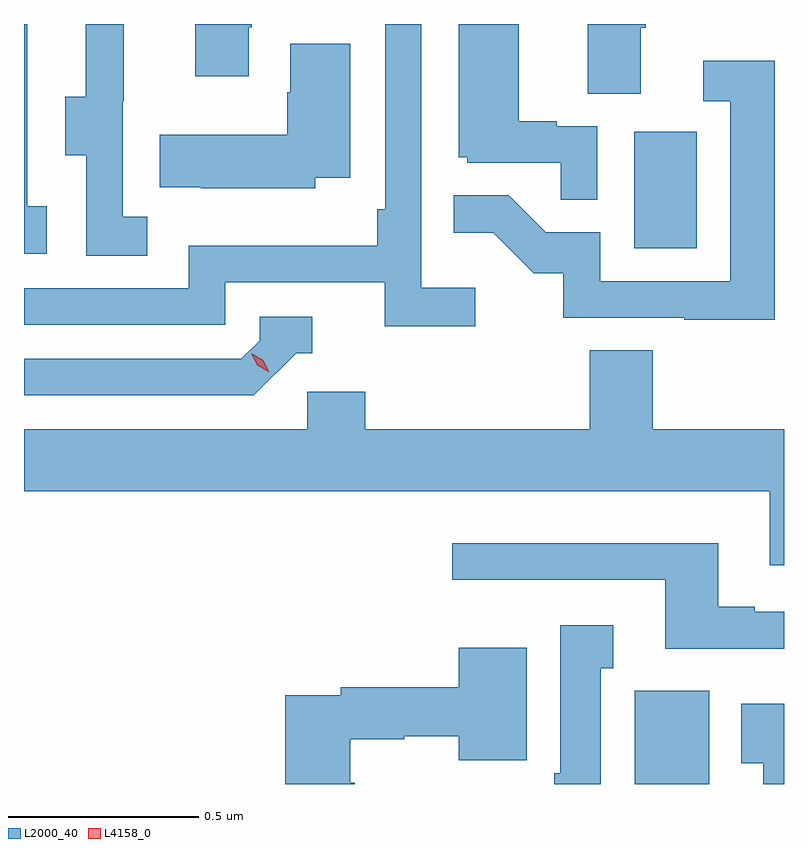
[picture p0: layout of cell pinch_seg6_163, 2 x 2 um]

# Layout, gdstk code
import gdstk
lib = gdstk.Library(unit=1e-6, precision=1e-09)
def R(c, l, rs):  # rectangles x0, y0, x1, y1
    for r in rs: c.add(gdstk.rectangle(r[:2], r[2:], *l))
def P(c, l, *ps):  # polygons
    for p in ps: c.add(gdstk.Polygon(p, *l))
L2000_40 = (2000, 40)
L4158_0 = (4158, 0)

pinch_seg6_163 = lib.new_cell('pinch_seg6_163')
R(pinch_seg6_163, L2000_40, [(1018.287,937.242,1018.483,937.488), (1018.286,938.652,1018.45,938.959)])
P(pinch_seg6_163, L2000_40, [(1018.303,939.232),(1018.316,939.232),(1018.316,939.242),(1018.163,939.242),(1018.163,939.058),(1018.303,939.058)],
  [(1016.74,938.762),(1016.688,938.762),(1016.688,939.242),(1016.68,939.242),(1016.68,938.637),(1016.74,938.637)],
  [(1017.004,938.735),(1016.94,938.735),(1016.94,939.039),(1016.942,939.039),(1016.942,939.242),(1016.843,939.242),(1016.843,939.051),(1016.789,939.051),(1016.789,938.896),(1016.844,938.896),(1016.844,938.632),(1017.004,938.632)],
  [(1017.868,938.548),(1017.726,938.548),(1017.726,939.242),(1017.63,939.242),(1017.63,938.755),(1017.61,938.755),(1017.61,938.659),(1017.114,938.659),(1017.114,938.547),(1016.68,938.547),(1016.68,938.451),(1017.21,938.451),(1017.21,938.562),(1017.629,938.562),(1017.629,938.446),(1017.868,938.446)],
  [(1017.271,939.233),(1017.279,939.233),(1017.279,939.242),(1017.131,939.242),(1017.131,939.105),(1017.271,939.105)],
  [(1018.188,938.973),(1018.082,938.973),(1018.082,938.986),(1017.982,938.986),(1017.982,939.241),(1017.824,939.241),(1017.824,938.892),(1017.846,938.892),(1017.846,938.877),(1018.093,938.877),(1018.093,938.779),(1018.188,938.779)],
  [(1017.447,938.837),(1017.538,938.837),(1017.538,939.19),(1017.38,939.19),(1017.38,939.062),(1017.373,939.062),(1017.373,938.95),(1017.037,938.95),(1017.037,938.813),(1017.145,938.813),(1017.145,938.81),(1017.447,938.81)],
  [(1018.655,939.145),(1018.467,939.145),(1018.467,939.039),(1018.539,939.039),(1018.539,938.565),(1018.197,938.565),(1018.197,938.694),(1018.053,938.694),(1017.955,938.792),(1017.811,938.792),(1017.811,938.693),(1017.915,938.693),(1018.022,938.586),(1018.099,938.586),(1018.099,938.469),(1018.417,938.469),(1018.417,938.464),(1018.655,938.464)],
  [(1017.396,938.376),(1017.439,938.376),(1017.439,938.472),(1017.3,938.472),(1017.3,938.409),(1017.252,938.361),(1016.68,938.361),(1016.68,938.265),(1017.285,938.265)],
  [(1018.68,938.176),(1018.334,938.176),(1018.334,938.384),(1018.169,938.384),(1018.169,938.176),(1017.578,938.176),(1017.578,938.274),(1017.426,938.274),(1017.426,938.176),(1016.68,938.176),(1016.68,938.012),(1018.643,938.012),(1018.643,937.818),(1018.68,937.818)],
  [(1018.68,937.695),(1018.603,937.695),(1018.603,937.708),(1018.507,937.708),(1018.507,937.876),(1017.807,937.876),(1017.807,937.779),(1018.367,937.779),(1018.367,937.598),(1018.68,937.598)],
  [(1018.198,937.547),(1018.231,937.547),(1018.231,937.66),(1018.091,937.66),(1018.091,937.27),(1018.076,937.27),(1018.076,937.242),(1018.198,937.242)],
  [(1017.551,937.245),(1017.538,937.245),(1017.538,937.36),(1017.681,937.36),(1017.681,937.368),(1017.824,937.368),(1017.824,937.304),(1018.003,937.304),(1018.003,937.6),(1017.824,937.6),(1017.824,937.496),(1017.514,937.496),(1017.514,937.476),(1017.368,937.476),(1017.368,937.242),(1017.551,937.242)],
  [(1018.68,937.453),(1018.568,937.453),(1018.568,937.297),(1018.625,937.297),(1018.625,937.242),(1018.68,937.242)])
P(pinch_seg6_163, L4158_0, [(1017.325,938.325),(1017.294,938.344),(1017.278,938.376),(1017.278,938.376),(1017.278,938.376),(1017.309,938.357),(1017.325,938.325),(1017.325,938.325)])

lib.write_gds('pinch_seg6_163.gds')
